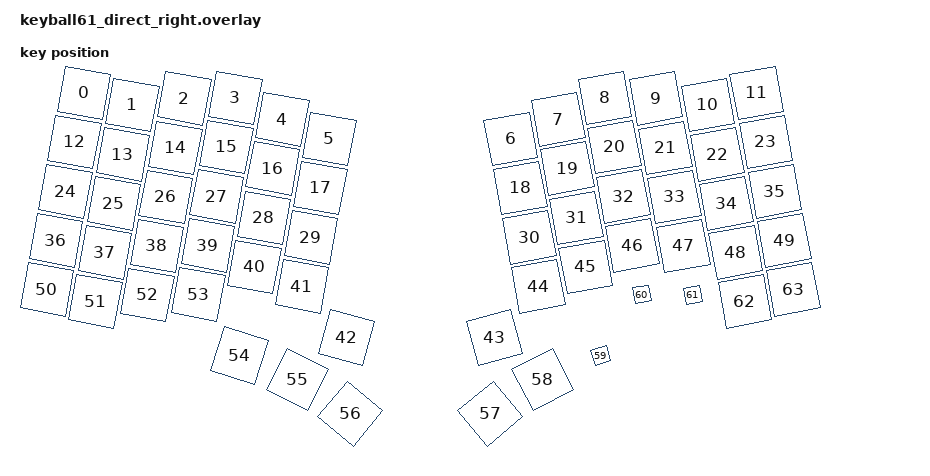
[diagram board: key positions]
/*
 * Правая половина Keyball61 БЕЗ донгла: она сама подключается к компьютеру
 * (по USB или Bluetooth) и является главным устройством (central).
 * Левая половина подключается к правой. Для левой используется обычная
 * сборка keyball61_left.
 *   NCS  -> Pro Micro D10  (P0.09)
 *   MOSI -> Pro Micro D16  (P0.10)
 *   MISO -> Pro Micro D14  (P1.11)
 *   SCLK -> Pro Micro D15  (P1.13)
 */

#include "keyball61.dtsi"
#include <zephyr/dt-bindings/gpio/nordic-nrf-gpio.h>
#include <zephyr/dt-bindings/pinctrl/nrf-pinctrl.h>
#include <input/processors.dtsi>
#include <physical_layouts.dtsi>
#include <dt-bindings/zmk/input_transform.h>
#include <zephyr/dt-bindings/input/input-event-codes.h>

/* Ключи правой половины идут в карте после ключей левой */
&default_transform {
    col-offset = <9>;
};

/* Усиленная мощность выводов SPI: помогает, если между линиями есть утечка.
 * Пины как на плате: SCLK = P1.13, MOSI = P0.10, MISO = P1.11. */
&pinctrl {
    kb_spi_default: kb_spi_default {
        group1 {
            psels = <NRF_PSEL(SPIM_SCK, 1, 13)>,
                    <NRF_PSEL(SPIM_MOSI, 0, 10)>;
            nordic,drive-mode = <NRF_DRIVE_H0H1>;
        };
        group2 {
            psels = <NRF_PSEL(SPIM_MISO, 1, 11)>;
        };
    };

    kb_spi_sleep: kb_spi_sleep {
        group1 {
            psels = <NRF_PSEL(SPIM_SCK, 1, 13)>,
                    <NRF_PSEL(SPIM_MOSI, 0, 10)>,
                    <NRF_PSEL(SPIM_MISO, 1, 11)>;
            low-power-enable;
        };
    };
};

&pro_micro_spi {
    status = "okay";
    pinctrl-0 = <&kb_spi_default>;
    pinctrl-1 = <&kb_spi_sleep>;
    pinctrl-names = "default", "sleep";
    /* NCS = D10 = P0.09. Флаги мощности вывода нельзя передавать через &pro_micro,
     * поэтому указан контроллер gpio0 напрямую. */
    cs-gpios = <&gpio0 9 (GPIO_ACTIVE_LOW | NRF_GPIO_DRIVE_H0H1)>;

    trackball: trackball@0 {
        compatible = "pixart,pmw3360";
        reg = <0>;
        spi-max-frequency = <2000000>;
        cpi = <500>;
    };
};

/ {
    input_processors {
        /* Масштабирование прокрутки с накоплением остатка (плавный скролл) */
        kb_scroll_scaler: kb_scroll_scaler {
            compatible = "zmk,input-processor-scaler";
            #input-processor-cells = <2>;
            type = <INPUT_EV_REL>;
            codes = <INPUT_REL_WHEEL INPUT_REL_HWHEEL>;
            track-remainders;
        };

        /* Масштабирование курсора с накоплением остатка */
        kb_xy_scaler: kb_xy_scaler {
            compatible = "zmk,input-processor-scaler";
            #input-processor-cells = <2>;
            type = <INPUT_EV_REL>;
            codes = <INPUT_REL_X INPUT_REL_Y>;
            track-remainders;
        };
    };

    /* Слои-флаги скорости прокрутки + слой 3 (режим прокрутки) = слои 8 и 9 */
    conditional_layers {
        compatible = "zmk,conditional-layers";

        scroll_slow_active {
            if-layers = <3 6>;
            then-layer = <8>;
        };

        scroll_fast_active {
            if-layers = <3 7>;
            then-layer = <9>;
        };
    };

    /*
     * Правила проверяются сверху вниз, срабатывает первое подошедшее.
     * Слои: 3 = прокрутка (удерживается), 4/5 = курсор медленнее/быстрее,
     *       6/7 = прокрутка медленнее/быстрее, 8/9 = служебные.
     * Оси датчика повёрнуты на 90 градусов: в каждом правиле сначала меняем X и Y местами.
     * Обычный курсор (ни одно правило не подошло): только обмен осей.
     */
    trackball_listener: trackball_listener {
        compatible = "zmk,input-listener";
        device = <&trackball>;
        input-processors = <&zip_xy_transform INPUT_TRANSFORM_XY_SWAP>;

        scroll_slow {
            layers = <8>;
            input-processors = <&zip_xy_transform INPUT_TRANSFORM_XY_SWAP
                                &zip_xy_to_scroll_mapper
                                &zip_scroll_transform INPUT_TRANSFORM_Y_INVERT
                                &kb_scroll_scaler 1 8>;
        };

        scroll_fast {
            layers = <9>;
            input-processors = <&zip_xy_transform INPUT_TRANSFORM_XY_SWAP
                                &zip_xy_to_scroll_mapper
                                &zip_scroll_transform INPUT_TRANSFORM_Y_INVERT
                                &kb_scroll_scaler 1 2>;
        };

        scroller {
            layers = <3>;
            input-processors = <&zip_xy_transform INPUT_TRANSFORM_XY_SWAP
                                &zip_xy_to_scroll_mapper
                                &zip_scroll_transform INPUT_TRANSFORM_Y_INVERT
                                &kb_scroll_scaler 1 4>;
        };

        cursor_slow {
            layers = <4>;
            input-processors = <&zip_xy_transform INPUT_TRANSFORM_XY_SWAP
                                &kb_xy_scaler 1 2>;
        };

        cursor_fast {
            layers = <5>;
            input-processors = <&zip_xy_transform INPUT_TRANSFORM_XY_SWAP
                                &kb_xy_scaler 2 1>;
        };
    };
};

/*
 * ZMK Studio: вместо отдельных kscan и matrix-transform используется физическая
 * раскладка, которая на них ссылается. Размеры и координаты клавиш в сотых долях
 * клавиши (100 = 1 клавиша), порядок клавиш = порядок в keymap.
 */
/ {
    chosen {
        /delete-property/ zmk,matrix-transform;
        /delete-property/ zmk,kscan;
        zmk,physical-layout = &keyball61_physical_layout;
    };

    keyball61_physical_layout: keyball61_physical_layout {
        compatible = "zmk,physical-layout";
        display-name = "Keyball61";
        kscan = <&kscan0>;
        transform = <&default_transform>;
        keys
        = <&key_physical_attrs 100 100 99 25 1060 149 75>
        , <&key_physical_attrs 100 100 196 49 1060 246 99>
        , <&key_physical_attrs 100 100 300 36 1060 350 86>
        , <&key_physical_attrs 100 100 402 35 1060 452 85>
        , <&key_physical_attrs 100 100 496 78 1060 546 128>
        , <&key_physical_attrs 100 100 590 117 1060 640 167>
        , <&key_physical_attrs 100 100 953 117 (-1060) 1003 167>
        , <&key_physical_attrs 100 100 1048 78 (-1060) 1098 128>
        , <&key_physical_attrs 100 100 1141 35 (-1060) 1191 85>
        , <&key_physical_attrs 100 100 1243 36 (-1060) 1293 86>
        , <&key_physical_attrs 100 100 1347 49 (-1060) 1397 99>
        , <&key_physical_attrs 100 100 1445 25 (-1060) 1495 75>
        , <&key_physical_attrs 100 100 80 123 1060 130 173>
        , <&key_physical_attrs 100 100 177 148 1060 227 198>
        , <&key_physical_attrs 100 100 282 135 1060 332 185>
        , <&key_physical_attrs 100 100 384 133 1060 434 183>
        , <&key_physical_attrs 100 100 477 176 1060 527 226>
        , <&key_physical_attrs 100 100 572 215 1060 622 265>
        , <&key_physical_attrs 100 100 972 215 (-1060) 1022 265>
        , <&key_physical_attrs 100 100 1066 176 (-1060) 1116 226>
        , <&key_physical_attrs 100 100 1160 133 (-1060) 1210 183>
        , <&key_physical_attrs 100 100 1262 135 (-1060) 1312 185>
        , <&key_physical_attrs 100 100 1366 148 (-1060) 1416 198>
        , <&key_physical_attrs 100 100 1463 123 (-1060) 1513 173>
        , <&key_physical_attrs 100 100 62 222 1060 112 272>
        , <&key_physical_attrs 100 100 159 246 1060 209 296>
        , <&key_physical_attrs 100 100 263 233 1060 313 283>
        , <&key_physical_attrs 100 100 365 232 1060 415 282>
        , <&key_physical_attrs 100 100 459 275 1060 509 325>
        , <&key_physical_attrs 100 100 553 314 1060 603 364>
        , <&key_physical_attrs 100 100 990 314 (-1060) 1040 364>
        , <&key_physical_attrs 100 100 1084 275 (-1060) 1134 325>
        , <&key_physical_attrs 100 100 1178 232 (-1060) 1228 282>
        , <&key_physical_attrs 100 100 1280 233 (-1060) 1330 283>
        , <&key_physical_attrs 100 100 1384 246 (-1060) 1434 296>
        , <&key_physical_attrs 100 100 1481 222 (-1060) 1531 272>
        , <&key_physical_attrs 100 100 43 320 1060 93 370>
        , <&key_physical_attrs 100 100 141 344 1060 191 394>
        , <&key_physical_attrs 100 100 245 331 1060 295 381>
        , <&key_physical_attrs 100 100 347 330 1060 397 380>
        , <&key_physical_attrs 100 100 440 373 1060 490 423>
        , <&key_physical_attrs 100 100 535 412 1060 585 462>
        , <&key_physical_attrs 100 100 624 514 1560 674 564>
        , <&key_physical_attrs 100 100 920 514 (-1560) 970 564>
        , <&key_physical_attrs 100 100 1008 412 (-1060) 1058 462>
        , <&key_physical_attrs 100 100 1103 373 (-1060) 1153 423>
        , <&key_physical_attrs 100 100 1196 330 (-1060) 1246 380>
        , <&key_physical_attrs 100 100 1298 331 (-1060) 1348 381>
        , <&key_physical_attrs 100 100 1403 344 (-1060) 1453 394>
        , <&key_physical_attrs 100 100 1500 320 (-1060) 1550 370>
        , <&key_physical_attrs 100 100 25 418 1060 75 468>
        , <&key_physical_attrs 100 100 122 442 1060 172 492>
        , <&key_physical_attrs 100 100 226 429 1060 276 479>
        , <&key_physical_attrs 100 100 328 428 1060 378 478>
        , <&key_physical_attrs 100 100 410 550 1760 460 600>
        , <&key_physical_attrs 100 100 526 598 2760 576 648>
        , <&key_physical_attrs 100 100 632 667 3960 682 717>
        , <&key_physical_attrs 100 100 912 667 (-3960) 962 717>
        , <&key_physical_attrs 100 100 1017 598 (-2760) 1067 648>
        , <&key_physical_attrs 40 40 1163 580 (-1760) 1183 600>
        , <&key_physical_attrs 40 40 1245 458 (-1060) 1265 478>
        , <&key_physical_attrs 40 40 1347 459 (-1060) 1367 479>
        , <&key_physical_attrs 100 100 1421 442 (-1060) 1471 492>
        , <&key_physical_attrs 100 100 1518 418 (-1060) 1568 468>
        ;
    };
};
